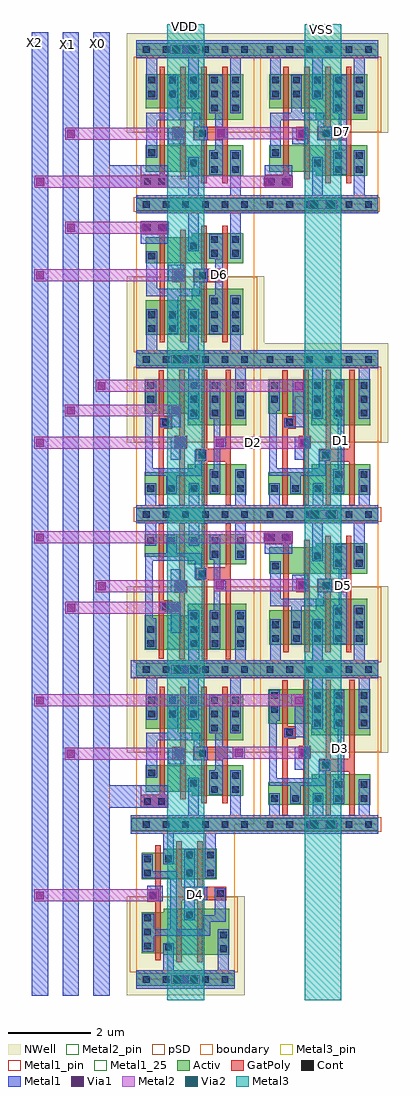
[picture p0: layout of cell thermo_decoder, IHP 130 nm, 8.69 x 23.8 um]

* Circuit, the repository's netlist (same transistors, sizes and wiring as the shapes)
** sch_path: /home/designer/shared/CS_DAC/CS_DAC-/xschem/thermo_decoder.sch
.subckt thermo_decoder D1 D2 D3 D4 D5 D6 D7 X0 X1 X2 VDD VSS
*.PININFO X2:I X1:I X0:I D7:O D6:O D5:O D4:O D3:O D1:O D2:O VDD:I VSS:I
x1 net1 X0 X1 VDD VSS sg13g2_and2_2
x2 D7 X2 net1 VDD VSS sg13g2_and2_2
x3 D6 X1 X2 VDD VSS sg13g2_and2_2
x4 D2 X2 X1 VDD VSS sg13g2_or2_2
x5 D1 D2 X0 VDD VSS sg13g2_or2_2
x6 net3 X0 X1 VDD VSS sg13g2_or2_2
x7 D5 X2 net3 VDD VSS sg13g2_and2_2
x8 net2 X0 X1 VDD VSS sg13g2_and2_2
x9 D3 net2 X2 VDD VSS sg13g2_or2_2
x10 D4 X2 VDD VSS sg13g2_buf_2
.ends

.SUBCKT sg13g2_or2_2 X A B VDD VSS
*.PININFO A:I B:I X:O VDD:B VSS:B
MP1 net2 B net3 VDD sg13_lv_pmos m=1 w=840.00n l=130.00n ng=1
MP0 net3 A VDD VDD sg13_lv_pmos m=1 w=840.00n l=130.00n ng=1
MP2 X net2 VDD VDD sg13_lv_pmos m=1 w=2.24u l=130.00n ng=2
MN1 net2 A VSS VSS sg13_lv_nmos m=1 w=550.00n l=130.00n ng=1
MN0 net2 B VSS VSS sg13_lv_nmos m=1 w=550.00n l=130.00n ng=1
MN2 X net2 VSS VSS sg13_lv_nmos m=1 w=1.48u l=130.00n ng=2
.ENDS

.SUBCKT sg13g2_and2_2 X A B VDD VSS
*.PININFO A:I B:I X:O VDD:B VSS:B
MN0 net1 A net2 VSS sg13_lv_nmos m=1 w=640.00n l=130.00n ng=1
MN2 X net1 VSS VSS sg13_lv_nmos m=1 w=1.48u l=130.00n ng=2
MN1 net2 B VSS VSS sg13_lv_nmos m=1 w=640.00n l=130.00n ng=1
MP0 net1 B VDD VDD sg13_lv_pmos m=1 w=840.00n l=130.00n ng=1
MP2 X net1 VDD VDD sg13_lv_pmos m=1 w=2.24u l=130.00n ng=2
MP1 net1 A VDD VDD sg13_lv_pmos m=1 w=840.00n l=130.00n ng=1
.ENDS

.SUBCKT sg13g2_buf_2 X A VDD VSS
*.PININFO A:I X:O VDD:B VSS:B
MN0 net1 A VSS VSS sg13_lv_nmos m=1 w=640.00n l=130.00n ng=1
MN1 X net1 VSS VSS sg13_lv_nmos m=1 w=1.48u l=130.00n ng=2
MP1 X net1 VDD VDD sg13_lv_pmos m=1 w=2.24u l=130.00n ng=2
MP0 net1 A VDD VDD sg13_lv_pmos m=1 w=1.000u l=130.00n ng=1
.ENDS

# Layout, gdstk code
from math import pi, radians
import gdstk
lib = gdstk.Library(unit=1e-6, precision=1e-09)
def R(c, l, rs):  # rectangles x0, y0, x1, y1
    for r in rs: c.add(gdstk.rectangle(r[:2], r[2:], *l))
def A(c, l, x, y, w, h, nx, ny, dx, dy):  # array of equal rectangles
    R(c, l, [(x+i*dx, y+j*dy, x+i*dx+w, y+j*dy+h) for i in range(nx) for j in range(ny)])
def P(c, l, *ps):  # polygons
    for p in ps: c.add(gdstk.Polygon(p, *l))
Activ = (1, 0)
GatPoly = (5, 0)
Cont = (6, 0)
Metal1 = (8, 0)
Metal1_pin = (8, 2)
Metal1_25 = (8, 25)
Metal2 = (10, 0)
Metal2_pin = (10, 2)
pSD = (14, 0)
Via1 = (19, 0)
Via2 = (29, 0)
Metal3 = (30, 0)
Metal3_pin = (30, 2)
NWell = (31, 0)
boundary = (189, 4)

sg13g2_and2_2_1 = lib.new_cell('sg13g2_and2_2$1')
R(sg13g2_and2_2_1, Activ, [(0,-0.15,2.88,0.15), (0,3.63,2.88,3.93)])
P(sg13g2_and2_2_1, Activ, [(1.355,0.7),(1.355,0.8),(0.225,0.8),(0.225,1.44),(2.605,1.44),(2.605,0.7)],
  [(1.355,2.06),(1.355,2.34),(0.225,2.34),(0.225,3.18),(2.605,3.18),(2.605,2.06)])
P(sg13g2_and2_2_1, GatPoly, [(1.585,0.52),(1.585,1.57),(1.385,1.57),(1.385,1.9),(1.585,1.9),(1.585,3.36),(1.715,3.36),(1.715,1.9),(2.095,1.9),(2.095,3.36),(2.225,3.36),(2.225,0.52),(2.095,0.52),(2.095,1.57),(1.715,1.57),(1.715,0.52)],
  [(0.105,0.41),(0.105,0.73),(0.565,0.73),(0.565,3.36),(0.695,3.36),(0.695,0.73),(0.775,0.73),(0.775,0.41)],
  [(1.075,0.62),(1.075,1.57),(0.875,1.57),(0.875,1.9),(1.075,1.9),(1.075,3.36),(1.205,3.36),(1.205,0.62)])
A(sg13g2_and2_2_1, Cont, 0.16, -0.08, 0.16, 0.16, 6, 1, 0.48, 0)
A(sg13g2_and2_2_1, Cont, 0.295, 2.61, 0.16, 0.16, 5, 2, 0.51, 0.34)
A(sg13g2_and2_2_1, Cont, 1.6, 3.7, 0.16, 0.16, 3, 1, 0.48, 0)
R(sg13g2_and2_2_1, Cont, [(0.19,0.48,0.35,0.64), (0.53,0.48,0.69,0.64), (1.825,0.77,1.985,0.93), (2.335,0.77,2.495,0.93), (1.315,0.935,1.475,1.095), (1.825,1.11,1.985,1.27), (2.335,1.11,2.495,1.27), (0.295,1.18,0.455,1.34), (0.96,1.655,1.12,1.815), (1.53,1.655,1.69,1.815), (1.825,2.27,1.985,2.43), (2.335,2.27,2.495,2.43), (0.16,3.7,0.32,3.86), (0.16,3.7,0.32,3.86), (0.16,3.7,0.32,3.86), (0.64,3.7,0.8,3.86), (0.64,3.7,0.8,3.86), (1.12,3.7,1.28,3.86), (1.12,3.7,1.28,3.86), (1.6,3.7,1.76,3.86)])
R(sg13g2_and2_2_1, Metal1, [(0.105,0.405,0.78,0.96), (0.78,1.47,1.17,1.87)])
P(sg13g2_and2_2_1, Metal1, [(1.775,0.72),(1.775,1.32),(1.92,1.32),(1.92,2.22),(1.775,2.22),(1.775,3.16),(2.105,3.16),(2.105,0.72)],
  [(0,-0.22),(0,0.22),(1.265,0.22),(1.265,1.145),(1.525,1.145),(1.525,0.22),(2.285,0.22),(2.285,1.32),(2.545,1.32),(2.545,0.22),(2.88,0.22),(2.88,-0.22)],
  [(0.245,1.14),(0.245,2.24),(0.755,2.24),(0.755,3.16),(1.015,3.16),(1.015,2.24),(1.56,2.24),(1.56,1.9),(1.74,1.9),(1.74,1.57),(1.4,1.57),(1.4,2.05),(0.505,2.05),(0.505,1.14)],
  [(2.285,2.22),(2.285,3.56),(1.525,3.56),(1.525,2.56),(1.265,2.56),(1.265,3.56),(0.505,3.56),(0.505,2.56),(0.245,2.56),(0.245,3.56),(0,3.56),(0,4),(2.88,4),(2.88,3.56),(2.545,3.56),(2.545,2.22)])
R(sg13g2_and2_2_1, Metal1_pin, [(0,-0.22,2.88,0.22), (0.105,0.405,0.78,0.96), (0.78,1.47,1.17,1.87), (1.775,2.22,2.105,3.16), (0,3.56,2.88,4)])
R(sg13g2_and2_2_1, pSD, [(-0.07,-0.18,2.91,0.18), (-0.07,1.76,2.95,3.6)])
R(sg13g2_and2_2_1, NWell, [(-0.24,1.75,0.72,4.17), (-0.24,1.75,2.64,4.17), (2.16,1.75,3.12,4.17)])
R(sg13g2_and2_2_1, boundary, [(0,0,2.88,3.78)])
sg13g2_and2_2_1.add(gdstk.Label('X', (1.995,2.73), layer=8, texttype=25))
sg13g2_and2_2_1.add(gdstk.Label('VSS', (1.18,0), layer=8, texttype=25))
sg13g2_and2_2_1.add(gdstk.Label('VDD', (1.275,3.78), layer=8, texttype=25))

sg13g2_and2_2 = lib.new_cell('sg13g2_and2_2')
R(sg13g2_and2_2, Activ, [(-0.14,-0.15,2.88,0.15), (-0.14,3.63,2.88,3.93)])
P(sg13g2_and2_2, Activ, [(1.355,0.7),(1.355,0.8),(0.225,0.8),(0.225,1.44),(2.605,1.44),(2.605,0.7)],
  [(1.355,2.06),(1.355,2.34),(0.225,2.34),(0.225,3.18),(2.605,3.18),(2.605,2.06)])
P(sg13g2_and2_2, GatPoly, [(1.585,0.52),(1.585,1.57),(1.385,1.57),(1.385,1.9),(1.585,1.9),(1.585,3.36),(1.715,3.36),(1.715,1.9),(2.095,1.9),(2.095,3.36),(2.225,3.36),(2.225,0.52),(2.095,0.52),(2.095,1.57),(1.715,1.57),(1.715,0.52)],
  [(0.105,0.41),(0.105,0.73),(0.565,0.73),(0.565,3.36),(0.695,3.36),(0.695,0.73),(0.775,0.73),(0.775,0.41)],
  [(1.075,0.62),(1.075,1.57),(0.875,1.57),(0.875,1.9),(1.075,1.9),(1.075,3.36),(1.205,3.36),(1.205,0.62)])
A(sg13g2_and2_2, Cont, 0.16, -0.08, 0.16, 0.16, 6, 1, 0.48, 0)
A(sg13g2_and2_2, Cont, 0.295, 2.61, 0.16, 0.16, 5, 2, 0.51, 0.34)
A(sg13g2_and2_2, Cont, 1.6, 3.7, 0.16, 0.16, 3, 1, 0.48, 0)
R(sg13g2_and2_2, Cont, [(0.19,0.48,0.35,0.64), (0.53,0.48,0.69,0.64), (1.825,0.77,1.985,0.93), (2.335,0.77,2.495,0.93), (1.315,0.935,1.475,1.095), (1.825,1.11,1.985,1.27), (2.335,1.11,2.495,1.27), (0.295,1.18,0.455,1.34), (0.96,1.655,1.12,1.815), (1.53,1.655,1.69,1.815), (1.825,2.27,1.985,2.43), (2.335,2.27,2.495,2.43), (0.16,3.7,0.32,3.86), (0.16,3.7,0.32,3.86), (0.16,3.7,0.32,3.86), (0.64,3.7,0.8,3.86), (0.64,3.7,0.8,3.86), (1.12,3.7,1.28,3.86), (1.12,3.7,1.28,3.86), (1.6,3.7,1.76,3.86)])
R(sg13g2_and2_2, Metal1, [(0.105,0.405,0.78,0.96), (0.78,1.47,1.17,1.87)])
P(sg13g2_and2_2, Metal1, [(-0.14,-0.22),(-0.14,0.22),(1.265,0.22),(1.265,1.145),(1.525,1.145),(1.525,0.22),(2.285,0.22),(2.285,1.32),(2.545,1.32),(2.545,0.22),(2.88,0.22),(2.88,-0.22)],
  [(2.285,2.22),(2.285,3.56),(1.525,3.56),(1.525,2.56),(1.265,2.56),(1.265,3.56),(0.505,3.56),(0.505,2.56),(0.245,2.56),(0.245,3.56),(-0.14,3.56),(-0.14,4),(2.88,4),(2.88,3.56),(2.545,3.56),(2.545,2.22)],
  [(1.775,0.72),(1.775,1.32),(1.92,1.32),(1.92,2.22),(1.775,2.22),(1.775,3.16),(2.105,3.16),(2.105,0.72)],
  [(0.245,1.14),(0.245,2.24),(0.755,2.24),(0.755,3.16),(1.015,3.16),(1.015,2.24),(1.56,2.24),(1.56,1.9),(1.74,1.9),(1.74,1.57),(1.4,1.57),(1.4,2.05),(0.505,2.05),(0.505,1.14)])
R(sg13g2_and2_2, Metal1_pin, [(-0.14,-0.22,2.88,0.22), (0.105,0.405,0.78,0.96), (0.78,1.47,1.17,1.87), (1.775,2.22,2.105,3.16), (-0.14,3.56,2.88,4)])
R(sg13g2_and2_2, pSD, [(-0.11,-0.18,2.91,0.18), (-0.07,1.76,2.95,3.6)])
R(sg13g2_and2_2, NWell, [(-0.24,1.75,0.72,4.17), (-0.24,1.75,2.64,4.17), (2.16,1.75,3.12,4.17)])
R(sg13g2_and2_2, boundary, [(0,0,2.88,3.78)])
sg13g2_and2_2.add(gdstk.Label('X', (1.995,2.73), layer=8, texttype=25))
sg13g2_and2_2.add(gdstk.Label('VSS', (1.18,0), layer=8, texttype=25))
sg13g2_and2_2.add(gdstk.Label('VDD', (1.275,3.78), layer=8, texttype=25))
sg13g2_and2_2.add(gdstk.Label('B', (0.98,1.655), layer=8, texttype=25))

sg13g2_and2_2_2 = lib.new_cell('sg13g2_and2_2$2')
R(sg13g2_and2_2_2, Activ, [(0,-0.15,2.88,0.15), (0,3.63,2.88,3.93)])
P(sg13g2_and2_2_2, Activ, [(1.355,0.7),(1.355,0.8),(0.225,0.8),(0.225,1.44),(2.605,1.44),(2.605,0.7)],
  [(1.355,2.06),(1.355,2.34),(0.225,2.34),(0.225,3.18),(2.605,3.18),(2.605,2.06)])
P(sg13g2_and2_2_2, GatPoly, [(1.585,0.52),(1.585,1.57),(1.385,1.57),(1.385,1.9),(1.585,1.9),(1.585,3.36),(1.715,3.36),(1.715,1.9),(2.095,1.9),(2.095,3.36),(2.225,3.36),(2.225,0.52),(2.095,0.52),(2.095,1.57),(1.715,1.57),(1.715,0.52)],
  [(0.105,0.41),(0.105,0.73),(0.565,0.73),(0.565,3.36),(0.695,3.36),(0.695,0.73),(0.775,0.73),(0.775,0.41)],
  [(1.075,0.62),(1.075,1.57),(0.875,1.57),(0.875,1.9),(1.075,1.9),(1.075,3.36),(1.205,3.36),(1.205,0.62)])
A(sg13g2_and2_2_2, Cont, 0.16, -0.08, 0.16, 0.16, 6, 1, 0.48, 0)
A(sg13g2_and2_2_2, Cont, 0.295, 2.61, 0.16, 0.16, 5, 2, 0.51, 0.34)
A(sg13g2_and2_2_2, Cont, 1.6, 3.7, 0.16, 0.16, 3, 1, 0.48, 0)
R(sg13g2_and2_2_2, Cont, [(0.19,0.48,0.35,0.64), (0.53,0.48,0.69,0.64), (1.825,0.77,1.985,0.93), (2.335,0.77,2.495,0.93), (1.315,0.935,1.475,1.095), (1.825,1.11,1.985,1.27), (2.335,1.11,2.495,1.27), (0.295,1.18,0.455,1.34), (0.96,1.655,1.12,1.815), (1.53,1.655,1.69,1.815), (1.825,2.27,1.985,2.43), (2.335,2.27,2.495,2.43), (0.16,3.7,0.32,3.86), (0.16,3.7,0.32,3.86), (0.16,3.7,0.32,3.86), (0.64,3.7,0.8,3.86), (0.64,3.7,0.8,3.86), (1.12,3.7,1.28,3.86), (1.12,3.7,1.28,3.86), (1.6,3.7,1.76,3.86)])
R(sg13g2_and2_2_2, Metal1, [(0.105,0.405,0.78,0.96), (0.78,1.47,1.17,1.87)])
P(sg13g2_and2_2_2, Metal1, [(1.775,0.72),(1.775,1.32),(1.92,1.32),(1.92,2.22),(1.775,2.22),(1.775,3.16),(2.105,3.16),(2.105,0.72)],
  [(0,-0.22),(0,0.22),(1.265,0.22),(1.265,1.145),(1.525,1.145),(1.525,0.22),(2.285,0.22),(2.285,1.32),(2.545,1.32),(2.545,0.22),(2.88,0.22),(2.88,-0.22)],
  [(0.245,1.14),(0.245,2.24),(0.755,2.24),(0.755,3.16),(1.015,3.16),(1.015,2.24),(1.56,2.24),(1.56,1.9),(1.74,1.9),(1.74,1.57),(1.4,1.57),(1.4,2.05),(0.505,2.05),(0.505,1.14)],
  [(2.285,2.22),(2.285,3.56),(1.525,3.56),(1.525,2.56),(1.265,2.56),(1.265,3.56),(0.505,3.56),(0.505,2.56),(0.245,2.56),(0.245,3.56),(0,3.56),(0,4),(2.88,4),(2.88,3.56),(2.545,3.56),(2.545,2.22)])
R(sg13g2_and2_2_2, Metal1_pin, [(0,-0.22,2.88,0.22), (0.105,0.405,0.78,0.96), (0.78,1.47,1.17,1.87), (1.775,2.22,2.105,3.16), (0,3.56,2.88,4)])
R(sg13g2_and2_2_2, pSD, [(-0.07,-0.18,2.91,0.18), (-0.07,1.76,2.95,3.6)])
R(sg13g2_and2_2_2, NWell, [(-0.24,1.75,0.72,4.17), (-0.24,1.75,2.64,4.17), (2.16,1.75,3.12,4.17)])
R(sg13g2_and2_2_2, boundary, [(0,0,2.88,3.78)])
sg13g2_and2_2_2.add(gdstk.Label('X', (1.995,2.73), layer=8, texttype=25))
sg13g2_and2_2_2.add(gdstk.Label('VSS', (1.18,0), layer=8, texttype=25))
sg13g2_and2_2_2.add(gdstk.Label('VDD', (1.275,3.78), layer=8, texttype=25))

sg13g2_or2_2 = lib.new_cell('sg13g2_or2_2')
R(sg13g2_or2_2, Activ, [(0,-0.15,2.88,0.15), (0,3.63,2.88,3.93)])
P(sg13g2_or2_2, Activ, [(1.25,2.18),(1.25,2.46),(0.2,2.46),(0.2,3.3),(2.685,3.3),(2.685,2.18)],
  [(0.2,0.48),(0.2,1.03),(1.255,1.03),(1.255,1.22),(2.685,1.22),(2.685,0.48)])
P(sg13g2_or2_2, GatPoly, [(1.05,0.22),(1.05,1.615),(0.935,1.615),(0.935,1.915),(1.05,1.915),(1.05,3.525),(1.18,3.525),(1.18,1.915),(1.235,1.915),(1.235,1.615),(1.18,1.615),(1.18,0.22)],
  [(0.54,0.22),(0.54,3.52),(0.67,3.52),(0.67,2.39),(0.87,2.39),(0.87,2.09),(0.67,2.09),(0.67,0.22)],
  [(1.595,0.22),(1.595,1.3),(1.445,1.3),(1.445,1.6),(1.595,1.6),(1.595,3.53),(1.725,3.53),(1.725,1.6),(2.175,1.6),(2.175,3.53),(2.305,3.53),(2.305,0.22),(2.175,0.22),(2.175,1.29),(1.725,1.29),(1.725,0.22)])
A(sg13g2_or2_2, Cont, 0.16, -0.08, 0.16, 0.16, 6, 2, 0.48, 3.78)
A(sg13g2_or2_2, Cont, 1.32, 2.39, 0.16, 0.16, 1, 3, 0, 0.34)
A(sg13g2_or2_2, Cont, 1.84, 2.39, 0.16, 0.16, 1, 3, 0, 0.34)
A(sg13g2_or2_2, Cont, 2.455, 2.39, 0.16, 0.16, 1, 3, 0, 0.34)
R(sg13g2_or2_2, Cont, [(0.27,0.55,0.43,0.71), (0.78,0.55,0.94,0.71), (1.325,0.55,1.485,0.71), (1.835,0.55,1.995,0.71), (2.455,0.55,2.615,0.71), (1.835,0.89,1.995,1.05), (2.455,0.89,2.615,1.05), (1.515,1.37,1.675,1.53), (1.005,1.685,1.165,1.845), (0.635,2.16,0.795,2.32), (0.27,2.73,0.43,2.89), (0.27,3.07,0.43,3.23)])
P(sg13g2_or2_2, Metal1, [(0.585,2.13),(0.585,2.35),(0.84,2.35),(0.84,2.68),(1.085,2.68),(1.085,2.13)],
  [(1.785,0.5),(1.785,1.1),(1.885,1.1),(1.885,2.34),(1.79,2.34),(1.79,3.28),(2.05,3.28),(2.05,0.5)],
  [(0,-0.22),(0,0.22),(0.22,0.22),(0.22,0.76),(0.48,0.76),(0.48,0.22),(1.275,0.22),(1.275,0.76),(1.535,0.76),(1.535,0.22),(2.405,0.22),(2.405,1.1),(2.665,1.1),(2.665,0.22),(2.88,0.22),(2.88,-0.22)],
  [(0.84,1.335),(0.84,1.895),(1.215,1.895),(1.215,1.635),(1.085,1.635),(1.085,1.335)],
  [(0.73,0.5),(0.73,0.945),(0.22,0.945),(0.22,3.28),(0.48,3.28),(0.48,2.53),(0.405,2.53),(0.405,1.125),(1.425,1.125),(1.425,1.58),(1.705,1.58),(1.705,1.315),(1.595,1.315),(1.595,0.945),(0.99,0.945),(0.99,0.5)],
  [(1.27,2.34),(1.27,3.56),(0,3.56),(0,4),(2.88,4),(2.88,3.56),(2.665,3.56),(2.665,2.34),(2.405,2.34),(2.405,3.56),(1.53,3.56),(1.53,2.34)])
R(sg13g2_or2_2, Metal1_pin, [(0,-0.22,2.88,0.22), (0.84,1.335,1.085,1.895), (0.84,2.13,1.085,2.68), (1.79,2.34,2.05,3.28), (0,3.56,2.88,4)])
R(sg13g2_or2_2, pSD, [(-0.07,-0.18,2.95,0.18), (-0.07,1.76,2.95,3.6)])
R(sg13g2_or2_2, NWell, [(-0.24,1.75,3.12,4.17)])
R(sg13g2_or2_2, boundary, [(0,0,2.88,3.78)])
sg13g2_or2_2.add(gdstk.Label('VSS', (1.43,-0.005), layer=8, texttype=25))
sg13g2_or2_2.add(gdstk.Label('X', (1.92,2.52), layer=8, texttype=25))
sg13g2_or2_2.add(gdstk.Label('VDD', (1.435,3.78), layer=8, texttype=25))

sg13g2_or2_2_1 = lib.new_cell('sg13g2_or2_2$1')
R(sg13g2_or2_2_1, Activ, [(-0.14,-0.15,2.88,0.15), (-0.14,3.63,2.88,3.93)])
P(sg13g2_or2_2_1, Activ, [(1.25,2.18),(1.25,2.46),(0.2,2.46),(0.2,3.3),(2.685,3.3),(2.685,2.18)],
  [(0.2,0.48),(0.2,1.03),(1.255,1.03),(1.255,1.22),(2.685,1.22),(2.685,0.48)])
P(sg13g2_or2_2_1, GatPoly, [(1.05,0.22),(1.05,1.615),(0.935,1.615),(0.935,1.915),(1.05,1.915),(1.05,3.525),(1.18,3.525),(1.18,1.915),(1.235,1.915),(1.235,1.615),(1.18,1.615),(1.18,0.22)],
  [(0.54,0.22),(0.54,3.52),(0.67,3.52),(0.67,2.39),(0.87,2.39),(0.87,2.09),(0.67,2.09),(0.67,0.22)],
  [(1.595,0.22),(1.595,1.3),(1.445,1.3),(1.445,1.6),(1.595,1.6),(1.595,3.53),(1.725,3.53),(1.725,1.6),(2.175,1.6),(2.175,3.53),(2.305,3.53),(2.305,0.22),(2.175,0.22),(2.175,1.29),(1.725,1.29),(1.725,0.22)])
A(sg13g2_or2_2_1, Cont, 0.16, -0.08, 0.16, 0.16, 6, 2, 0.48, 3.78)
A(sg13g2_or2_2_1, Cont, 1.32, 2.39, 0.16, 0.16, 1, 3, 0, 0.34)
A(sg13g2_or2_2_1, Cont, 1.84, 2.39, 0.16, 0.16, 1, 3, 0, 0.34)
A(sg13g2_or2_2_1, Cont, 2.455, 2.39, 0.16, 0.16, 1, 3, 0, 0.34)
R(sg13g2_or2_2_1, Cont, [(0.27,0.55,0.43,0.71), (0.78,0.55,0.94,0.71), (1.325,0.55,1.485,0.71), (1.835,0.55,1.995,0.71), (2.455,0.55,2.615,0.71), (1.835,0.89,1.995,1.05), (2.455,0.89,2.615,1.05), (1.515,1.37,1.675,1.53), (1.005,1.685,1.165,1.845), (0.635,2.16,0.795,2.32), (0.27,2.73,0.43,2.89), (0.27,3.07,0.43,3.23)])
P(sg13g2_or2_2_1, Metal1, [(1.27,2.34),(1.27,3.56),(-0.14,3.56),(-0.14,4),(2.88,4),(2.88,3.56),(2.665,3.56),(2.665,2.34),(2.405,2.34),(2.405,3.56),(1.53,3.56),(1.53,2.34)],
  [(-0.14,-0.22),(-0.14,0.22),(0.22,0.22),(0.22,0.76),(0.48,0.76),(0.48,0.22),(1.275,0.22),(1.275,0.76),(1.535,0.76),(1.535,0.22),(2.405,0.22),(2.405,1.1),(2.665,1.1),(2.665,0.22),(2.88,0.22),(2.88,-0.22)],
  [(1.785,0.5),(1.785,1.1),(1.885,1.1),(1.885,2.34),(1.79,2.34),(1.79,3.28),(2.05,3.28),(2.05,0.5)],
  [(0.84,1.335),(0.84,1.895),(1.215,1.895),(1.215,1.635),(1.085,1.635),(1.085,1.335)],
  [(0.73,0.5),(0.73,0.945),(0.22,0.945),(0.22,3.28),(0.48,3.28),(0.48,2.53),(0.405,2.53),(0.405,1.125),(1.425,1.125),(1.425,1.58),(1.705,1.58),(1.705,1.315),(1.595,1.315),(1.595,0.945),(0.99,0.945),(0.99,0.5)],
  [(0.585,2.13),(0.585,2.35),(0.84,2.35),(0.84,2.88),(1.085,2.88),(1.085,2.13)])
R(sg13g2_or2_2_1, Metal1_pin, [(-0.14,-0.22,2.88,0.22), (0.84,1.335,1.085,1.895), (0.84,2.13,1.085,2.88), (1.79,2.34,2.05,3.28), (-0.14,3.56,2.88,4)])
R(sg13g2_or2_2_1, pSD, [(-0.07,-0.18,2.95,0.18), (-0.07,1.76,2.95,3.6)])
R(sg13g2_or2_2_1, NWell, [(-0.24,1.75,3.12,4.17)])
R(sg13g2_or2_2_1, boundary, [(0,0,2.88,3.78)])
sg13g2_or2_2_1.add(gdstk.Label('VSS', (1.43,-0.005), layer=8, texttype=25))
sg13g2_or2_2_1.add(gdstk.Label('A', (0.96,1.68), layer=8, texttype=25))
sg13g2_or2_2_1.add(gdstk.Label('X', (1.92,2.52), layer=8, texttype=25))
sg13g2_or2_2_1.add(gdstk.Label('VDD', (1.435,3.78), layer=8, texttype=25))

sg13g2_or2_2_2 = lib.new_cell('sg13g2_or2_2$2')
R(sg13g2_or2_2_2, Activ, [(0,-0.15,2.88,0.15), (0,3.63,2.88,3.93)])
P(sg13g2_or2_2_2, Activ, [(1.25,2.18),(1.25,2.46),(0.2,2.46),(0.2,3.3),(2.685,3.3),(2.685,2.18)],
  [(0.2,0.48),(0.2,1.03),(1.255,1.03),(1.255,1.22),(2.685,1.22),(2.685,0.48)])
P(sg13g2_or2_2_2, GatPoly, [(1.05,0.22),(1.05,1.615),(0.935,1.615),(0.935,1.915),(1.05,1.915),(1.05,3.525),(1.18,3.525),(1.18,1.915),(1.235,1.915),(1.235,1.615),(1.18,1.615),(1.18,0.22)],
  [(0.54,0.22),(0.54,3.52),(0.67,3.52),(0.67,2.39),(0.87,2.39),(0.87,2.09),(0.67,2.09),(0.67,0.22)],
  [(1.595,0.22),(1.595,1.3),(1.445,1.3),(1.445,1.6),(1.595,1.6),(1.595,3.53),(1.725,3.53),(1.725,1.6),(2.175,1.6),(2.175,3.53),(2.305,3.53),(2.305,0.22),(2.175,0.22),(2.175,1.29),(1.725,1.29),(1.725,0.22)])
A(sg13g2_or2_2_2, Cont, 0.16, -0.08, 0.16, 0.16, 6, 2, 0.48, 3.78)
A(sg13g2_or2_2_2, Cont, 1.32, 2.39, 0.16, 0.16, 1, 3, 0, 0.34)
A(sg13g2_or2_2_2, Cont, 1.84, 2.39, 0.16, 0.16, 1, 3, 0, 0.34)
A(sg13g2_or2_2_2, Cont, 2.455, 2.39, 0.16, 0.16, 1, 3, 0, 0.34)
R(sg13g2_or2_2_2, Cont, [(0.27,0.55,0.43,0.71), (0.78,0.55,0.94,0.71), (1.325,0.55,1.485,0.71), (1.835,0.55,1.995,0.71), (2.455,0.55,2.615,0.71), (1.835,0.89,1.995,1.05), (2.455,0.89,2.615,1.05), (1.515,1.37,1.675,1.53), (1.005,1.685,1.165,1.845), (0.635,2.16,0.795,2.32), (0.27,2.73,0.43,2.89), (0.27,3.07,0.43,3.23)])
P(sg13g2_or2_2_2, Metal1, [(1.785,0.5),(1.785,1.1),(1.885,1.1),(1.885,2.34),(1.79,2.34),(1.79,3.28),(2.05,3.28),(2.05,0.5)],
  [(0,-0.22),(0,0.22),(0.22,0.22),(0.22,0.76),(0.48,0.76),(0.48,0.22),(1.275,0.22),(1.275,0.76),(1.535,0.76),(1.535,0.22),(2.405,0.22),(2.405,1.1),(2.665,1.1),(2.665,0.22),(2.88,0.22),(2.88,-0.22)],
  [(0.84,1.335),(0.84,1.895),(1.215,1.895),(1.215,1.635),(1.085,1.635),(1.085,1.335)],
  [(0.73,0.5),(0.73,0.945),(0.22,0.945),(0.22,3.28),(0.48,3.28),(0.48,2.53),(0.405,2.53),(0.405,1.125),(1.425,1.125),(1.425,1.58),(1.705,1.58),(1.705,1.315),(1.595,1.315),(1.595,0.945),(0.99,0.945),(0.99,0.5)],
  [(0.585,2.13),(0.585,2.35),(0.84,2.35),(0.84,2.88),(1.085,2.88),(1.085,2.13)],
  [(1.27,2.34),(1.27,3.56),(0,3.56),(0,4),(2.88,4),(2.88,3.56),(2.665,3.56),(2.665,2.34),(2.405,2.34),(2.405,3.56),(1.53,3.56),(1.53,2.34)])
R(sg13g2_or2_2_2, Metal1_pin, [(0,-0.22,2.88,0.22), (0.84,1.335,1.085,1.895), (0.84,2.13,1.085,2.88), (1.79,2.34,2.05,3.28), (0,3.56,2.88,4)])
R(sg13g2_or2_2_2, pSD, [(-0.07,-0.18,2.95,0.18), (-0.07,1.76,2.95,3.6)])
R(sg13g2_or2_2_2, NWell, [(-0.24,1.75,3.12,4.17)])
R(sg13g2_or2_2_2, boundary, [(0,0,2.88,3.78)])
sg13g2_or2_2_2.add(gdstk.Label('VSS', (1.43,-0.005), layer=8, texttype=25))
sg13g2_or2_2_2.add(gdstk.Label('X', (1.92,2.52), layer=8, texttype=25))
sg13g2_or2_2_2.add(gdstk.Label('VDD', (1.435,3.78), layer=8, texttype=25))

sg13g2_and2_2_3 = lib.new_cell('sg13g2_and2_2$3')
R(sg13g2_and2_2_3, Activ, [(-0.14,-0.15,2.88,0.15), (-0.14,3.63,2.88,3.93)])
P(sg13g2_and2_2_3, Activ, [(1.355,0.7),(1.355,0.8),(0.225,0.8),(0.225,1.44),(2.605,1.44),(2.605,0.7)],
  [(1.355,2.06),(1.355,2.34),(0.225,2.34),(0.225,3.18),(2.605,3.18),(2.605,2.06)])
P(sg13g2_and2_2_3, GatPoly, [(1.585,0.52),(1.585,1.57),(1.385,1.57),(1.385,1.9),(1.585,1.9),(1.585,3.36),(1.715,3.36),(1.715,1.9),(2.095,1.9),(2.095,3.36),(2.225,3.36),(2.225,0.52),(2.095,0.52),(2.095,1.57),(1.715,1.57),(1.715,0.52)],
  [(0.105,0.41),(0.105,0.73),(0.565,0.73),(0.565,3.36),(0.695,3.36),(0.695,0.73),(0.775,0.73),(0.775,0.41)],
  [(1.075,0.62),(1.075,1.57),(0.875,1.57),(0.875,1.9),(1.075,1.9),(1.075,3.36),(1.205,3.36),(1.205,0.62)])
A(sg13g2_and2_2_3, Cont, 0.16, -0.08, 0.16, 0.16, 6, 1, 0.48, 0)
A(sg13g2_and2_2_3, Cont, 0.295, 2.61, 0.16, 0.16, 5, 2, 0.51, 0.34)
A(sg13g2_and2_2_3, Cont, 1.6, 3.7, 0.16, 0.16, 3, 1, 0.48, 0)
R(sg13g2_and2_2_3, Cont, [(0.19,0.48,0.35,0.64), (0.53,0.48,0.69,0.64), (1.825,0.77,1.985,0.93), (2.335,0.77,2.495,0.93), (1.315,0.935,1.475,1.095), (1.825,1.11,1.985,1.27), (2.335,1.11,2.495,1.27), (0.295,1.18,0.455,1.34), (0.96,1.655,1.12,1.815), (1.53,1.655,1.69,1.815), (1.825,2.27,1.985,2.43), (2.335,2.27,2.495,2.43), (0.16,3.7,0.32,3.86), (0.16,3.7,0.32,3.86), (0.16,3.7,0.32,3.86), (0.64,3.7,0.8,3.86), (0.64,3.7,0.8,3.86), (1.12,3.7,1.28,3.86), (1.12,3.7,1.28,3.86), (1.6,3.7,1.76,3.86)])
R(sg13g2_and2_2_3, Metal1, [(0.105,0.405,0.78,0.96), (0.78,1.47,1.17,1.87)])
P(sg13g2_and2_2_3, Metal1, [(-0.14,-0.22),(-0.14,0.22),(1.265,0.22),(1.265,1.145),(1.525,1.145),(1.525,0.22),(2.285,0.22),(2.285,1.32),(2.545,1.32),(2.545,0.22),(2.88,0.22),(2.88,-0.22)],
  [(2.285,2.22),(2.285,3.56),(1.525,3.56),(1.525,2.56),(1.265,2.56),(1.265,3.56),(0.505,3.56),(0.505,2.56),(0.245,2.56),(0.245,3.56),(-0.14,3.56),(-0.14,4),(2.88,4),(2.88,3.56),(2.545,3.56),(2.545,2.22)],
  [(1.775,0.72),(1.775,1.32),(1.92,1.32),(1.92,2.22),(1.775,2.22),(1.775,3.16),(2.105,3.16),(2.105,0.72)],
  [(0.245,1.14),(0.245,2.24),(0.755,2.24),(0.755,3.16),(1.015,3.16),(1.015,2.24),(1.56,2.24),(1.56,1.9),(1.74,1.9),(1.74,1.57),(1.4,1.57),(1.4,2.05),(0.505,2.05),(0.505,1.14)])
R(sg13g2_and2_2_3, Metal1_pin, [(-0.14,-0.22,2.88,0.22), (0.105,0.405,0.78,0.96), (0.78,1.47,1.17,1.87), (1.775,2.22,2.105,3.16), (-0.14,3.56,2.88,4)])
R(sg13g2_and2_2_3, pSD, [(-0.11,-0.18,2.91,0.18), (-0.07,1.76,2.95,3.6)])
R(sg13g2_and2_2_3, NWell, [(-0.24,1.75,0.72,4.17), (-0.24,1.75,2.64,4.17), (2.16,1.75,3.12,4.17)])
R(sg13g2_and2_2_3, boundary, [(0,0,2.88,3.78)])
sg13g2_and2_2_3.add(gdstk.Label('X', (1.995,2.73), layer=8, texttype=25))
sg13g2_and2_2_3.add(gdstk.Label('VSS', (1.18,0), layer=8, texttype=25))
sg13g2_and2_2_3.add(gdstk.Label('VDD', (1.275,3.78), layer=8, texttype=25))
sg13g2_and2_2_3.add(gdstk.Label('B', (0.98,1.655), layer=8, texttype=25))

sg13g2_and2_2_4 = lib.new_cell('sg13g2_and2_2$4')
R(sg13g2_and2_2_4, Activ, [(-0.14,-0.15,2.88,0.15), (0,3.63,2.88,3.93)])
P(sg13g2_and2_2_4, Activ, [(1.355,0.7),(1.355,0.8),(0.225,0.8),(0.225,1.44),(2.605,1.44),(2.605,0.7)],
  [(1.355,2.06),(1.355,2.34),(0.225,2.34),(0.225,3.18),(2.605,3.18),(2.605,2.06)])
P(sg13g2_and2_2_4, GatPoly, [(1.585,0.52),(1.585,1.57),(1.385,1.57),(1.385,1.9),(1.585,1.9),(1.585,3.36),(1.715,3.36),(1.715,1.9),(2.095,1.9),(2.095,3.36),(2.225,3.36),(2.225,0.52),(2.095,0.52),(2.095,1.57),(1.715,1.57),(1.715,0.52)],
  [(0.105,0.41),(0.105,0.73),(0.565,0.73),(0.565,3.36),(0.695,3.36),(0.695,0.73),(0.775,0.73),(0.775,0.41)],
  [(1.075,0.62),(1.075,1.57),(0.875,1.57),(0.875,1.9),(1.075,1.9),(1.075,3.36),(1.205,3.36),(1.205,0.62)])
A(sg13g2_and2_2_4, Cont, 0.16, -0.08, 0.16, 0.16, 6, 1, 0.48, 0)
A(sg13g2_and2_2_4, Cont, 0.295, 2.61, 0.16, 0.16, 5, 2, 0.51, 0.34)
A(sg13g2_and2_2_4, Cont, 1.6, 3.7, 0.16, 0.16, 3, 1, 0.48, 0)
R(sg13g2_and2_2_4, Cont, [(0.19,0.48,0.35,0.64), (0.53,0.48,0.69,0.64), (1.825,0.77,1.985,0.93), (2.335,0.77,2.495,0.93), (1.315,0.935,1.475,1.095), (1.825,1.11,1.985,1.27), (2.335,1.11,2.495,1.27), (0.295,1.18,0.455,1.34), (0.96,1.655,1.12,1.815), (1.53,1.655,1.69,1.815), (1.825,2.27,1.985,2.43), (2.335,2.27,2.495,2.43), (0.16,3.7,0.32,3.86), (0.16,3.7,0.32,3.86), (0.16,3.7,0.32,3.86), (0.64,3.7,0.8,3.86), (0.64,3.7,0.8,3.86), (1.12,3.7,1.28,3.86), (1.12,3.7,1.28,3.86), (1.6,3.7,1.76,3.86)])
R(sg13g2_and2_2_4, Metal1, [(0.105,0.405,0.78,0.96), (0.78,1.47,1.17,1.87)])
P(sg13g2_and2_2_4, Metal1, [(-0.14,-0.22),(-0.14,0.22),(1.265,0.22),(1.265,1.145),(1.525,1.145),(1.525,0.22),(2.285,0.22),(2.285,1.32),(2.545,1.32),(2.545,0.22),(2.88,0.22),(2.88,-0.22)],
  [(2.285,2.22),(2.285,3.56),(1.525,3.56),(1.525,2.56),(1.265,2.56),(1.265,3.56),(0.505,3.56),(0.505,2.56),(0.245,2.56),(0.245,3.56),(-0.14,3.56),(-0.14,4),(2.88,4),(2.88,3.56),(2.545,3.56),(2.545,2.22)],
  [(1.775,0.72),(1.775,1.32),(1.92,1.32),(1.92,2.22),(1.775,2.22),(1.775,3.16),(2.105,3.16),(2.105,0.72)],
  [(0.245,1.14),(0.245,2.24),(0.755,2.24),(0.755,3.16),(1.015,3.16),(1.015,2.24),(1.56,2.24),(1.56,1.9),(1.74,1.9),(1.74,1.57),(1.4,1.57),(1.4,2.05),(0.505,2.05),(0.505,1.14)])
R(sg13g2_and2_2_4, Metal1_pin, [(-0.14,-0.22,2.88,0.22), (0.105,0.405,0.78,0.96), (0.78,1.47,1.17,1.87), (1.775,2.22,2.105,3.16), (-0.14,3.56,2.88,4)])
R(sg13g2_and2_2_4, pSD, [(-0.11,-0.18,2.91,0.18), (-0.07,1.76,2.95,3.6)])
R(sg13g2_and2_2_4, NWell, [(-0.24,1.75,0.72,4.17), (-0.24,1.75,2.64,4.17), (2.16,1.75,3.12,4.17)])
R(sg13g2_and2_2_4, boundary, [(0,0,2.88,3.78)])
sg13g2_and2_2_4.add(gdstk.Label('X', (1.995,2.73), layer=8, texttype=25))
sg13g2_and2_2_4.add(gdstk.Label('VSS', (1.18,0), layer=8, texttype=25))
sg13g2_and2_2_4.add(gdstk.Label('VDD', (1.275,3.78), layer=8, texttype=25))

sg13g2_or2_2_3 = lib.new_cell('sg13g2_or2_2$3')
R(sg13g2_or2_2_3, Activ, [(-0.14,-0.15,2.88,0.15), (-0.14,3.63,2.88,3.93)])
P(sg13g2_or2_2_3, Activ, [(1.25,2.18),(1.25,2.46),(0.2,2.46),(0.2,3.3),(2.685,3.3),(2.685,2.18)],
  [(0.2,0.48),(0.2,1.03),(1.255,1.03),(1.255,1.22),(2.685,1.22),(2.685,0.48)])
P(sg13g2_or2_2_3, GatPoly, [(1.05,0.22),(1.05,1.615),(0.935,1.615),(0.935,1.915),(1.05,1.915),(1.05,3.525),(1.18,3.525),(1.18,1.915),(1.235,1.915),(1.235,1.615),(1.18,1.615),(1.18,0.22)],
  [(0.54,0.22),(0.54,3.52),(0.67,3.52),(0.67,2.39),(0.87,2.39),(0.87,2.09),(0.67,2.09),(0.67,0.22)],
  [(1.595,0.22),(1.595,1.3),(1.445,1.3),(1.445,1.6),(1.595,1.6),(1.595,3.53),(1.725,3.53),(1.725,1.6),(2.175,1.6),(2.175,3.53),(2.305,3.53),(2.305,0.22),(2.175,0.22),(2.175,1.29),(1.725,1.29),(1.725,0.22)])
A(sg13g2_or2_2_3, Cont, 0.16, -0.08, 0.16, 0.16, 6, 2, 0.48, 3.78)
A(sg13g2_or2_2_3, Cont, 1.32, 2.39, 0.16, 0.16, 1, 3, 0, 0.34)
A(sg13g2_or2_2_3, Cont, 1.84, 2.39, 0.16, 0.16, 1, 3, 0, 0.34)
A(sg13g2_or2_2_3, Cont, 2.455, 2.39, 0.16, 0.16, 1, 3, 0, 0.34)
R(sg13g2_or2_2_3, Cont, [(0.27,0.55,0.43,0.71), (0.78,0.55,0.94,0.71), (1.325,0.55,1.485,0.71), (1.835,0.55,1.995,0.71), (2.455,0.55,2.615,0.71), (1.835,0.89,1.995,1.05), (2.455,0.89,2.615,1.05), (1.515,1.37,1.675,1.53), (1.005,1.685,1.165,1.845), (0.635,2.16,0.795,2.32), (0.27,2.73,0.43,2.89), (0.27,3.07,0.43,3.23)])
P(sg13g2_or2_2_3, Metal1, [(1.27,2.34),(1.27,3.56),(-0.14,3.56),(-0.14,4),(2.88,4),(2.88,3.56),(2.665,3.56),(2.665,2.34),(2.405,2.34),(2.405,3.56),(1.53,3.56),(1.53,2.34)],
  [(-0.14,-0.22),(-0.14,0.22),(0.22,0.22),(0.22,0.76),(0.48,0.76),(0.48,0.22),(1.275,0.22),(1.275,0.76),(1.535,0.76),(1.535,0.22),(2.405,0.22),(2.405,1.1),(2.665,1.1),(2.665,0.22),(2.88,0.22),(2.88,-0.22)],
  [(1.785,0.5),(1.785,1.1),(1.885,1.1),(1.885,2.34),(1.79,2.34),(1.79,3.28),(2.05,3.28),(2.05,0.5)],
  [(0.84,1.335),(0.84,1.895),(1.215,1.895),(1.215,1.635),(1.085,1.635),(1.085,1.335)],
  [(0.73,0.5),(0.73,0.945),(0.22,0.945),(0.22,3.28),(0.48,3.28),(0.48,2.53),(0.405,2.53),(0.405,1.125),(1.425,1.125),(1.425,1.58),(1.705,1.58),(1.705,1.315),(1.595,1.315),(1.595,0.945),(0.99,0.945),(0.99,0.5)],
  [(0.585,2.13),(0.585,2.35),(0.84,2.35),(0.84,2.88),(1.085,2.88),(1.085,2.13)])
R(sg13g2_or2_2_3, Metal1_pin, [(-0.14,-0.22,2.88,0.22), (0.84,1.335,1.085,1.895), (0.84,2.13,1.085,2.88), (1.79,2.34,2.05,3.28), (-0.14,3.56,2.88,4)])
R(sg13g2_or2_2_3, pSD, [(-0.11,-0.18,2.95,0.18), (-0.07,1.76,2.95,3.6)])
R(sg13g2_or2_2_3, NWell, [(-0.24,1.75,3.12,4.17)])
R(sg13g2_or2_2_3, boundary, [(0,0,2.88,3.78)])
sg13g2_or2_2_3.add(gdstk.Label('VSS', (1.43,-0.005), layer=8, texttype=25))
sg13g2_or2_2_3.add(gdstk.Label('A', (0.96,1.68), layer=8, texttype=25))
sg13g2_or2_2_3.add(gdstk.Label('X', (1.92,2.52), layer=8, texttype=25))
sg13g2_or2_2_3.add(gdstk.Label('VDD', (1.435,3.78), layer=8, texttype=25))

sg13g2_buf_2 = lib.new_cell('sg13g2_buf_2')
R(sg13g2_buf_2, Activ, [(0,-0.15,2.4,0.15), (0,3.63,2.4,3.93)])
P(sg13g2_buf_2, Activ, [(0.13,2.06),(0.13,3.18),(1.735,3.18),(1.735,3.135),(2.275,3.135),(2.275,2.135),(1.735,2.135),(1.735,2.06)],
  [(0.445,0.59),(0.445,1.33),(2.275,1.33),(2.275,0.69),(1.735,0.69),(1.735,0.59)])
P(sg13g2_buf_2, GatPoly, [(1.805,0.51),(1.805,3.315),(1.935,3.315),(1.935,1.885),(2.14,1.885),(2.14,1.585),(1.935,1.585),(1.935,0.51)],
  [(0.785,0.41),(0.785,1.52),(0.205,1.52),(0.205,1.85),(0.785,1.85),(0.785,3.36),(0.915,3.36),(0.915,1.85),(1.295,1.85),(1.295,3.36),(1.425,3.36),(1.425,0.41),(1.295,0.41),(1.295,1.52),(0.915,1.52),(0.915,0.41)])
A(sg13g2_buf_2, Cont, 0.16, -0.08, 0.16, 0.16, 3, 1, 0.48, 0)
A(sg13g2_buf_2, Cont, 2.045, 2.205, 0.16, 0.16, 1, 3, 0, 0.34)
R(sg13g2_buf_2, Cont, [(0.16,-0.08,0.32,0.08), (1.12,-0.08,1.28,0.08), (1.6,-0.08,1.76,0.08), (1.6,-0.08,1.76,0.08), (2.08,-0.08,2.24,0.08), (2.08,-0.08,2.24,0.08), (0.515,0.66,0.675,0.82), (1.025,0.66,1.185,0.82), (1.535,0.755,1.695,0.915), (2.045,0.76,2.205,0.92), (0.515,1.1,0.675,1.26), (1.025,1.1,1.185,1.26), (2.045,1.1,2.205,1.26), (0.275,1.605,0.435,1.765), (1.91,1.655,2.07,1.815), (1.025,2.13,1.185,2.29), (0.2,2.61,0.36,2.77), (1.535,2.905,1.695,3.065), (0.2,2.95,0.36,3.11), (0.16,3.7,0.32,3.86), (0.16,3.7,0.32,3.86), (0.64,3.7,0.8,3.86), (0.64,3.7,0.8,3.86), (1.12,3.7,1.28,3.86), (1.12,3.7,1.28,3.86), (1.6,3.7,1.76,3.86), (1.6,3.7,1.76,3.86), (2.08,3.7,2.24,3.86), (2.08,3.7,2.24,3.86)])
R(sg13g2_buf_2, Metal1, [(1.755,1.49,2.14,1.87)])
P(sg13g2_buf_2, Metal1, [(1.995,0.72),(1.995,1.145),(1.415,1.145),(1.415,2.55),(0.765,2.55),(0.765,2.215),(0.485,2.215),(0.485,1.555),(0.225,1.555),(0.225,2.375),(0.605,2.375),(0.605,2.71),(1.97,2.71),(1.97,3.1),(2.26,3.1),(2.26,2.18),(1.97,2.18),(1.97,2.55),(1.575,2.55),(1.575,1.31),(2.255,1.31),(2.255,0.72)],
  [(0.15,2.56),(0.15,3.56),(0,3.56),(0,4),(2.4,4),(2.4,3.56),(1.745,3.56),(1.745,2.895),(1.485,2.895),(1.485,3.56),(0.41,3.56),(0.41,2.56)],
  [(0.975,0.61),(0.975,1.52),(0.67,1.52),(0.67,1.85),(0.975,1.85),(0.975,2.34),(1.235,2.34),(1.235,0.61)],
  [(0,-0.22),(0,0.22),(0.465,0.22),(0.465,1.31),(0.725,1.31),(0.725,0.22),(1.485,0.22),(1.485,0.965),(1.745,0.965),(1.745,0.22),(2.4,0.22),(2.4,-0.22)])
R(sg13g2_buf_2, Metal1_pin, [(0,-0.22,2.4,0.22), (1.755,1.49,2.14,1.87), (0.67,1.52,1.235,1.85), (0,3.56,2.4,4)])
R(sg13g2_buf_2, pSD, [(-0.07,-0.18,2.47,0.18), (-0.07,1.76,2.56,3.6)])
R(sg13g2_buf_2, NWell, [(-0.24,1.75,2.64,4.17)])
R(sg13g2_buf_2, boundary, [(0,0,2.4,3.78)])
sg13g2_buf_2.add(gdstk.Label('VSS', (1.175,-0.005), layer=8, texttype=25))
sg13g2_buf_2.add(gdstk.Label('VDD', (0.965,3.78), layer=8, texttype=25))
sg13g2_buf_2.add(gdstk.Label('X', (0.96,1.68), layer=8, texttype=25))

via_stack_1 = lib.new_cell('via_stack$1')
R(via_stack_1, Metal1, [(-0.145,-0.105,0.145,0.105)])
R(via_stack_1, Metal2, [(-0.145,-0.1,0.145,0.1)])
R(via_stack_1, Via1, [(-0.095,-0.095,0.095,0.095)])

via_stack = lib.new_cell('via_stack')
R(via_stack, Metal1, [(-0.35,-0.105,0.35,0.105)])
R(via_stack, Metal2, [(-0.35,-0.1,0.35,0.1)])
R(via_stack, Via1, [(-0.3,-0.095,-0.11,0.095), (0.11,-0.095,0.3,0.095)])

via_stack_2 = lib.new_cell('via_stack$2')
R(via_stack_2, Metal1, [(-0.35,-0.105,0.35,0.105)])
R(via_stack_2, Metal2, [(-0.35,-0.1,0.35,0.1)])
R(via_stack_2, Via1, [(-0.3,-0.095,-0.11,0.095), (0.11,-0.095,0.3,0.095)])
R(via_stack_2, Via2, [(-0.3,-0.095,-0.11,0.095), (0.11,-0.095,0.3,0.095)])
R(via_stack_2, Metal3, [(-0.35,-0.1,0.35,0.1)])

thermo_decoder = lib.new_cell('thermo_decoder')
R(thermo_decoder, Metal1, [(-2.85,-19.2,-2.45,4.3), (-2.1,-19.2,-1.7,4.3), (1.805,-13.415,2.34,-13.125), (0.495,-5.33,0.785,-4.78), (3.515,-5.33,3.805,-4.18)])
P(thermo_decoder, Metal1, [(3.635,-12.245),(3.635,-12.21),(3.59,-12.21),(3.59,-12.14),(3.475,-12.14),(3.475,-11.85),(3.805,-11.85),(3.805,-12.14),(3.765,-12.14),(3.765,-12.235),(3.73,-12.235),(3.73,-12.245)],
  [(-1.35,-19.2),(-1.35,4.3),(-0.95,4.3),(-0.95,1.06),(-0.195,1.06),(-0.195,0.505),(-0.95,0.505),(-0.95,-14.06),(-0.195,-14.06),(-0.195,-14.615),(-0.95,-14.615),(-0.95,-19.2)])
A(thermo_decoder, Metal1_pin, -2.85, -19.2, 0.4, 23.5, 3, 1, 0.75, 0)
R(thermo_decoder, Metal1_pin, [(4.605,-13.92,4.77,-12.68), (4.64,-9.68,4.825,-8.78), (4.605,-6.36,4.77,-5.12), (1.62,-2.12,1.805,-1.22), (4.64,1.42,4.825,2.32)])
R(thermo_decoder, Metal1_25, [(3.515,-5.33,3.805,-4.18)])
R(thermo_decoder, Metal2, [(-2.795,-16.895,0.25,-16.605), (-2.045,-13.44,0.87,-13.15), (2.05,-13.415,3.935,-13.125), (-2.795,-12.14,3.805,-11.85), (-2.03,-9.88,0.78,-9.59), (-1.285,-9.355,0.915,-9.065), (1.585,-9.33,3.89,-9.04), (-2.795,-8.165,3.51,-7.875), (-2.795,-5.855,0.915,-5.565), (1.585,-5.855,3.935,-5.565), (-2.045,-5.07,0.785,-4.78), (-1.295,-4.47,3.805,-4.18), (-2.795,-1.77,0.87,-1.48), (-2.04,-0.61,0.49,-0.32), (-2.775,0.51,3.51,0.8), (-2.04,1.68,0.87,1.97), (1.62,1.69,3.89,1.98)])
R(thermo_decoder, Metal2_pin, [(1.585,-5.855,3.935,-5.565)])
R(thermo_decoder, Metal3, [(0.45,-19.3,1.35,4.5), (3.8,-19.3,4.7,4.5)])
R(thermo_decoder, Metal3_pin, [(0.45,-19.3,1.35,4.5), (3.8,-19.3,4.7,4.5)])
thermo_decoder.add(gdstk.Reference(sg13g2_and2_2_1, (-0.3,0.1)))
thermo_decoder.add(gdstk.Reference(sg13g2_and2_2, (2.72,0.1)))
thermo_decoder.add(gdstk.Reference(sg13g2_and2_2_2, (-0.3,0.1), x_reflection=True))
thermo_decoder.add(gdstk.Reference(sg13g2_or2_2, (-0.3,-7.46)))
thermo_decoder.add(gdstk.Reference(sg13g2_or2_2_1, (2.72,-7.46)))
thermo_decoder.add(gdstk.Reference(sg13g2_or2_2_2, (-0.3,-7.46), x_reflection=True))
thermo_decoder.add(gdstk.Reference(sg13g2_and2_2_3, (2.72,-7.46), x_reflection=True))
thermo_decoder.add(gdstk.Reference(sg13g2_and2_2_4, (-0.3,-15.02)))
thermo_decoder.add(gdstk.Reference(sg13g2_or2_2_3, (2.72,-15.02)))
thermo_decoder.add(gdstk.Reference(sg13g2_buf_2, (2.1,-15.02), rotation=pi))
thermo_decoder.add(gdstk.Reference(via_stack_1, (-1.895,1.825)))
thermo_decoder.add(gdstk.Reference(via_stack_1, (0.725,1.825)))
thermo_decoder.add(gdstk.Reference(via_stack, (3.16,0.655)))
thermo_decoder.add(gdstk.Reference(via_stack_1, (-2.645,0.655)))
thermo_decoder.add(gdstk.Reference(via_stack_1, (1.765,1.835)))
thermo_decoder.add(gdstk.Reference(via_stack_1, (3.745,1.825)))
thermo_decoder.add(gdstk.Reference(via_stack, (0.14,-0.46)))
thermo_decoder.add(gdstk.Reference(via_stack_1, (-1.895,-0.465)))
thermo_decoder.add(gdstk.Reference(via_stack_1, (0.725,-1.625)))
thermo_decoder.add(gdstk.Reference(via_stack_1, (-2.65,-1.625)))
thermo_decoder.add(gdstk.Reference(via_stack_1, (0.77,-5.71)))
thermo_decoder.add(gdstk.Reference(via_stack_1, (0.64,-4.925)))
thermo_decoder.add(gdstk.Reference(via_stack_1, (-1.9,-4.925)))
thermo_decoder.add(gdstk.Reference(via_stack_1, (-2.65,-5.71)))
thermo_decoder.add(gdstk.Reference(via_stack_1, (3.79,-5.71)))
thermo_decoder.add(gdstk.Reference(via_stack_1, (1.73,-5.71)))
thermo_decoder.add(gdstk.Reference(via_stack_1, (3.66,-4.325)))
thermo_decoder.add(gdstk.Reference(via_stack_1, (-1.15,-4.325)))
thermo_decoder.add(gdstk.Reference(via_stack_1, (0.64,-9.735)))
thermo_decoder.add(gdstk.Reference(via_stack_1, (0.77,-9.21)))
thermo_decoder.add(gdstk.Reference(via_stack_1, (-1.14,-9.21)))
thermo_decoder.add(gdstk.Reference(via_stack_1, (-1.885,-9.735)))
thermo_decoder.add(gdstk.Reference(via_stack_1, (3.745,-9.185)))
thermo_decoder.add(gdstk.Reference(via_stack_1, (1.73,-9.185)))
thermo_decoder.add(gdstk.Reference(via_stack, (3.16,-8.02)))
thermo_decoder.add(gdstk.Reference(via_stack_1, (-2.65,-8.02)))
thermo_decoder.add(gdstk.Reference(via_stack_1, (0.725,-13.295)))
thermo_decoder.add(gdstk.Reference(via_stack_1, (-1.9,-13.295)))
thermo_decoder.add(gdstk.Reference(via_stack_1, (3.66,-11.995)))
thermo_decoder.add(gdstk.Reference(via_stack_1, (-2.65,-11.995)))
thermo_decoder.add(gdstk.Reference(via_stack_1, (3.79,-13.27)))
thermo_decoder.add(gdstk.Reference(via_stack_1, (2.195,-13.27)))
thermo_decoder.add(gdstk.Reference(via_stack_1, (0.105,-16.75)))
thermo_decoder.add(gdstk.Reference(via_stack_1, (-2.65,-16.75)))
thermo_decoder.add(gdstk.Reference(via_stack_2, (0.88,3.88)))
thermo_decoder.add(gdstk.Reference(via_stack_2, (0.9,-3.675)))
thermo_decoder.add(gdstk.Reference(via_stack_2, (0.905,-11.24)))
thermo_decoder.add(gdstk.Reference(via_stack_2, (0.9,-18.8)))
thermo_decoder.add(gdstk.Reference(via_stack_2, (4.25,-15.02)))
thermo_decoder.add(gdstk.Reference(via_stack_2, (4.265,-7.46)))
thermo_decoder.add(gdstk.Reference(via_stack_2, (4.245,0.1)))
thermo_decoder.add(gdstk.Label('D5', (4.745,-9.2), layer=8, texttype=25))
thermo_decoder.add(gdstk.Label('X2', (-2.795,4.05), layer=8, texttype=25))
thermo_decoder.add(gdstk.Label('X1', (-1.99,4.005), layer=8, texttype=25))
thermo_decoder.add(gdstk.Label('X0', (-1.255,4.03), layer=8, texttype=25))
thermo_decoder.add(gdstk.Label('D7', (4.72,1.88), layer=8, texttype=25))
thermo_decoder.add(gdstk.Label('D6', (1.72,-1.61), layer=8, texttype=25))
thermo_decoder.add(gdstk.Label('D1', (4.69,-5.65), layer=8, texttype=25))
thermo_decoder.add(gdstk.Label('D3', (4.68,-13.175), layer=8, texttype=25))
thermo_decoder.add(gdstk.Label('D4', (1.145,-16.72), layer=8, texttype=25))
thermo_decoder.add(gdstk.Label('D2', (2.55,-5.705), layer=10, texttype=25))
thermo_decoder.add(gdstk.Label('VDD', (0.865,4.43), layer=30, texttype=25))
thermo_decoder.add(gdstk.Label('VSS', (4.22,4.375), layer=30, texttype=25))

lib.write_gds('thermo_decoder.gds')
